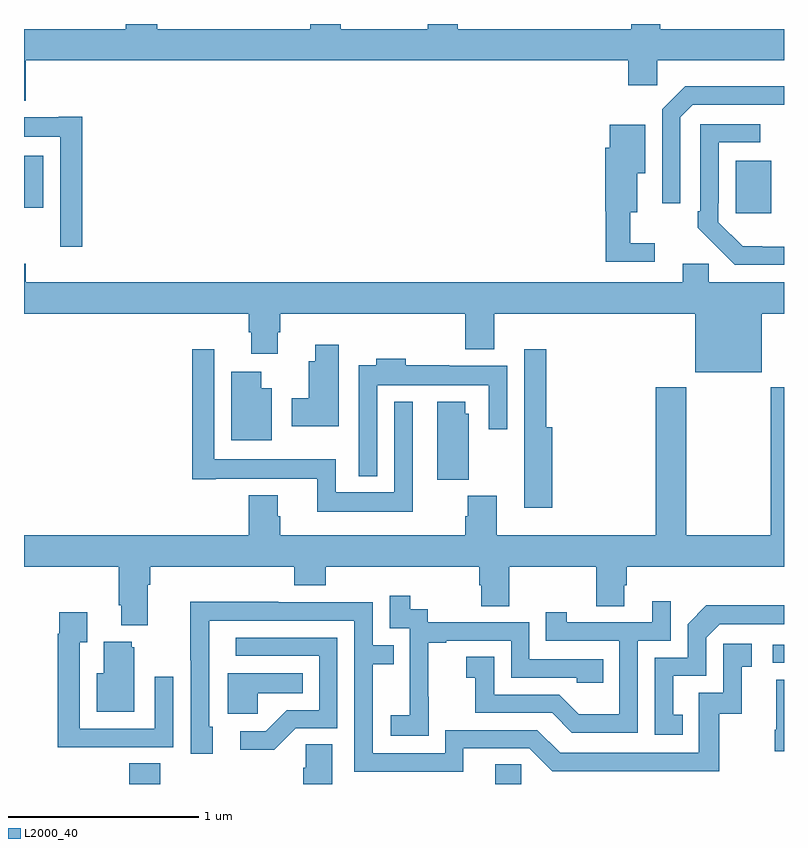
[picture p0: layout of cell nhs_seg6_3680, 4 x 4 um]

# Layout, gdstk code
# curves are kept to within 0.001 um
import gdstk
lib = gdstk.Library(unit=1e-6, precision=1e-09)
def R(c, l, rs):  # rectangles x0, y0, x1, y1
    for r in rs: c.add(gdstk.rectangle(r[:2], r[2:], *l))
def P(c, l, *ps):  # polygons
    for p in ps: c.add(gdstk.Polygon(p, *l))
L2000_40 = (2000, 40)

nhs_seg6_3680 = lib.new_cell('nhs_seg6_3680')
R(nhs_seg6_3680, L2000_40, [(325.553,971.5,325.718,971.609), (327.479,971.5,327.618,971.603), (328.941,972.138,329,972.234), (328.745,974.505,328.933,974.779), (325,974.534,325.102,974.806)])
P(nhs_seg6_3680, L2000_40, [(325.01,975.308),(328.181,975.308),(328.181,975.177),(328.332,975.177),(328.332,975.308),(329,975.308),(329,975.472),(328.348,975.472),(328.348,975.5),(328.196,975.5),(328.196,975.472),(327.284,975.472),(327.284,975.5),(327.124,975.5),(327.124,975.472),(326.667,975.472),(326.667,975.5),(326.507,975.5),(326.507,975.472),(325.7,975.472),(325.7,975.5),(325.535,975.5),(325.535,975.472),(325,975.472),(325,975.095),(325.01,975.095)],
  [(328.455,975.009),(328.521,975.075),(329,975.075),(329,975.172),(328.48,975.172),(328.359,975.051),(328.359,974.556),(328.455,974.556)],
  [(325.307,975.013),(325.184,975.013),(325.184,975.01),(325,975.01),(325,974.906),(325.191,974.906),(325.191,974.328),(325.307,974.328)],
  [(329,974.328),(328.782,974.329),(328.653,974.457),(328.653,974.557),(328.656,974.557),(328.656,974.877),(328.876,974.877),(328.876,974.973),(328.56,974.973),(328.56,974.515),(328.545,974.515),(328.545,974.427),(328.742,974.232),(329,974.232)],
  [(328.321,974.347),(328.192,974.347),(328.192,974.51),(328.228,974.51),(328.228,974.714),(328.27,974.714),(328.27,974.971),(328.082,974.971),(328.082,974.85),(328.058,974.85),(328.058,974.514),(328.063,974.514),(328.063,974.25),(328.321,974.25)],
  [(328.882,973.976),(329,973.976),(329,974.14),(328.605,974.14),(328.605,974.238),(328.466,974.238),(328.466,974.14),(325.01,974.14),(325.01,974.238),(325,974.238),(325,973.976),(326.183,973.976),(326.183,973.878),(326.195,973.878),(326.195,973.764),(326.335,973.764),(326.335,973.878),(326.348,973.878),(326.348,973.976),(327.323,973.976),(327.323,973.787),(327.475,973.787),(327.475,973.976),(328.532,973.976),(328.532,973.667),(328.882,973.667)],
  [(326.656,973.813),(326.534,973.813),(326.534,973.726),(326.498,973.726),(326.498,973.53),(326.409,973.53),(326.409,973.382),(326.656,973.382)],
  [(327.779,973.378),(327.749,973.378),(327.749,973.789),(327.633,973.789),(327.633,973.274),(327.632,973.274),(327.632,972.954),(327.779,972.954)],
  [(327.046,973.513),(326.949,973.513),(326.949,973.036),(326.64,973.036),(326.64,973.21),(326.001,973.21),(326.001,973.789),(325.885,973.789),(325.885,973.104),(326.008,973.104),(326.008,973.106),(326.543,973.106),(326.543,972.932),(327.046,972.932)],
  [(326.859,973.598),(327.447,973.598),(327.447,973.368),(327.543,973.368),(327.543,973.702),(327.239,973.702),(327.239,973.705),(327.008,973.705),(327.008,973.738),(326.855,973.738),(326.855,973.705),(326.763,973.705),(326.763,973.121),(326.859,973.121)],
  [(326.305,973.582),(326.248,973.582),(326.248,973.669),(326.09,973.669),(326.09,973.31),(326.305,973.31)],
  [(325.651,972.548),(325.664,972.548),(325.664,972.644),(326.423,972.644),(326.423,972.545),(326.588,972.545),(326.588,972.644),(327.395,972.644),(327.395,972.546),(327.407,972.546),(327.407,972.436),(327.555,972.436),(327.555,972.644),(328.012,972.644),(328.012,972.436),(328.159,972.436),(328.159,972.546),(328.172,972.546),(328.172,972.644),(329,972.644),(329,973.588),(328.93,973.588),(328.93,972.808),(328.485,972.808),(328.485,973.588),(328.325,973.588),(328.325,972.808),(327.488,972.808),(327.488,973.017),(327.335,973.017),(327.335,972.908),(327.323,972.908),(327.323,972.808),(326.348,972.808),(326.348,972.909),(326.335,972.909),(326.335,973.021),(326.183,973.021),(326.183,972.808),(325,972.808),(325,972.644),(325.499,972.644),(325.499,972.442),(325.511,972.442),(325.511,972.335),(325.651,972.335)],
  [(327.34,973.449),(327.322,973.449),(327.322,973.513),(327.176,973.513),(327.176,973.102),(327.34,973.102)],
  [(327.129,971.959),(327.128,971.959),(327.128,972.243),(327.223,972.243),(327.223,972.255),(327.564,972.255),(327.564,972.06),(327.909,972.06),(327.909,972.033),(328.049,972.033),(328.049,972.156),(327.66,972.156),(327.66,972.351),(327.126,972.351),(327.126,972.42),(327.034,972.42),(327.034,972.49),(326.925,972.49),(326.925,972.321),(327.03,972.321),(327.03,972.092),(327.029,972.092),(327.029,971.863),(326.931,971.863),(326.931,971.753),(327.129,971.753)],
  [(328.23,972.255),(328.404,972.255),(328.404,972.463),(328.307,972.463),(328.307,972.351),(327.856,972.351),(327.856,972.403),(327.745,972.403),(327.745,972.255),(328.134,972.255),(328.134,971.866),(327.92,971.866),(327.816,971.97),(327.474,971.97),(327.474,972.169),(327.327,972.169),(327.327,972.059),(327.376,972.059),(327.376,971.874),(327.779,971.874),(327.884,971.769),(328.23,971.769)],
  [(327.313,971.688),(327.66,971.688),(327.78,971.568),(328.66,971.568),(328.66,971.871),(328.778,971.871),(328.778,972.117),(328.831,972.117),(328.831,972.238),(328.68,972.238),(328.68,971.979),(328.551,971.979),(328.551,971.664),(327.822,971.664),(327.702,971.784),(327.216,971.784),(327.216,971.661),(326.835,971.661),(326.835,972.13),(326.945,972.13),(326.945,972.231),(326.835,972.231),(326.835,972.456),(326.339,972.456),(326.339,972.458),(325.876,972.458),(325.876,972.151),(325.878,972.151),(325.878,971.658),(325.993,971.658),(325.993,971.802),(325.974,971.802),(325.975,972.36),(326.739,972.36),(326.739,971.565),(327.313,971.565)],
  [(328.466,971.865),(328.417,971.865),(328.417,972.069),(328.59,972.069),(328.59,972.27),(328.662,972.342),(329,972.342),(329,972.44),(328.592,972.44),(328.494,972.342),(328.494,972.165),(328.32,972.165),(328.32,971.76),(328.466,971.76)],
  [(325.469,971.694),(325.785,971.694),(325.785,972.064),(325.689,972.064),(325.689,971.79),(325.293,971.79),(325.293,972.247),(325.333,972.247),(325.333,972.403),(325.185,972.403),(325.185,972.29),(325.177,972.29),(325.177,971.693),(325.469,971.693)],
  [(326.43,971.793),(326.649,971.793),(326.649,972.27),(326.115,972.27),(326.115,972.174),(326.553,972.174),(326.553,971.889),(326.384,971.889),(326.273,971.778),(326.139,971.778),(326.139,971.681),(326.317,971.681)],
  [(325.579,972.219),(325.568,972.219),(325.568,972.25),(325.421,972.25),(325.421,972.082),(325.382,972.082),(325.382,971.879),(325.579,971.879)],
  [(326.229,971.978),(326.468,971.978),(326.468,972.082),(326.072,972.082),(326.072,971.87),(326.229,971.87)],
  [(329,972.049),(328.958,972.049),(328.958,971.785),(328.951,971.785),(328.951,971.673),(329,971.673)],
  [(326.623,971.708),(326.484,971.708),(326.484,971.585),(326.471,971.585),(326.471,971.5),(326.623,971.5)])

lib.write_gds('nhs_seg6_3680.gds')
